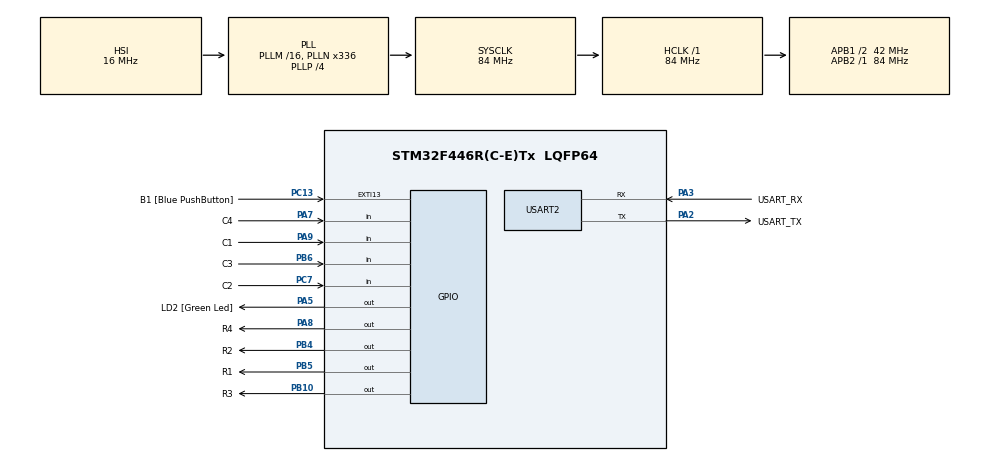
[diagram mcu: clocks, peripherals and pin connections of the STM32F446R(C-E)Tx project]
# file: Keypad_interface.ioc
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Mcu.Family=STM32F4
Mcu.Name=STM32F446R(C-E)Tx
Mcu.Package=LQFP64
NVIC.PriorityGroup=NVIC_PRIORITYGROUP_0
PA13.GPIO_Label=TMS
PA13.Mode=Serial_Wire
PA13.Signal=SYS_JTMS-SWDIO
PA14.GPIO_Label=TCK
PA14.Mode=Serial_Wire
PA14.Signal=SYS_JTCK-SWCLK
PA2.GPIO_Label=USART_TX
PA2.Mode=Asynchronous
PA2.Signal=USART2_TX
PA3.GPIO_Label=USART_RX
PA3.Mode=Asynchronous
PA3.Signal=USART2_RX
PA5.GPIO_Label=LD2 [Green Led]
PA5.Signal=GPIO_Output
PA7.GPIO_Label=C4
PA7.GPIO_PuPd=GPIO_PULLDOWN
PA7.Signal=GPIO_Input
PA8.GPIO_Label=R4
PA8.Signal=GPIO_Output
PA9.GPIO_Label=C1
PA9.GPIO_PuPd=GPIO_PULLDOWN
PA9.Signal=GPIO_Input
PB10.GPIO_Label=R3
PB10.Signal=GPIO_Output
PB3.GPIO_Label=SWO
PB3.Signal=SYS_JTDO-SWO
PB4.GPIO_Label=R2
PB4.Signal=GPIO_Output
PB5.GPIO_Label=R1
PB5.Signal=GPIO_Output
PB6.GPIO_Label=C3
PB6.GPIO_PuPd=GPIO_PULLDOWN
PB6.Signal=GPIO_Input
PC13.GPIO_Label=B1 [Blue PushButton]
PC13.GPIO_ModeDefaultEXTI=GPIO_MODE_IT_FALLING
PC13.Signal=GPXTI13
PC14-OSC32_IN.Mode=LSE-External-Oscillator
PC14-OSC32_IN.Signal=RCC_OSC32_IN
PC15-OSC32_OUT.Mode=LSE-External-Oscillator
PC15-OSC32_OUT.Signal=RCC_OSC32_OUT
PC7.GPIO_Label=C2
PC7.GPIO_PuPd=GPIO_PULLDOWN
PC7.Signal=GPIO_Input
PH0-OSC_IN.Mode=HSE-External-Oscillator
PH0-OSC_IN.Signal=RCC_OSC_IN
PH1-OSC_OUT.Mode=HSE-External-Oscillator
PH1-OSC_OUT.Signal=RCC_OSC_OUT
ProjectManager.HeapSize=0x200
ProjectManager.StackSize=0x400
ProjectManager.TargetToolchain=STM32CubeIDE
RCC.48MHZClocksFreq_Value=84000000
RCC.AHBFreq_Value=84000000
RCC.APB1CLKDivider=RCC_HCLK_DIV2
RCC.APB1Freq_Value=42000000
RCC.APB1TimFreq_Value=84000000
RCC.APB2Freq_Value=84000000
RCC.APB2TimFreq_Value=84000000
RCC.CortexFreq_Value=84000000
RCC.FLatency-AdvancedSettings=FLASH_LATENCY_2
RCC.HCLKFreq_Value=84000000
RCC.HSE_VALUE=8000000
RCC.HSI_VALUE=16000000
RCC.PLLN=336
RCC.PLLP=RCC_PLLP_DIV4
RCC.SYSCLKFreq_VALUE=84000000
RCC.SYSCLKSource=RCC_SYSCLKSOURCE_PLLCLK
RCC.USBFreq_Value=168000000
RCC.VCOOutputFreq_Value=336000000
USART2.VirtualMode=VM_ASYNC
board=NUCLEO-F446RE

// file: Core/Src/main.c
/* USER CODE BEGIN Header */
/**
 ******************************************************************************
 * @file           : main.c
 * @brief          : Main program body
 ******************************************************************************
 * @attention
 *
 * Copyright (c) 2025 STMicroelectronics.
 * All rights reserved.
 *
 * This software is licensed under terms that can be found in the LICENSE file
 * in the root directory of this software component.
 * If no LICENSE file comes with this software, it is provided AS-IS.
 *
 ******************************************************************************
 */
/* USER CODE END Header */
#include "main.h"

/* USER CODE BEGIN Includes */
#include <stdio.h>
#include <string.h>
#include <stdbool.h>
/* USER CODE END Includes */

/* USER CODE BEGIN PD */
#define ROWS 4
#define COLS 4
/* USER CODE END PD */

/* USER CODE BEGIN PM */
uint16_t rowPins[ROWS] = {R1_Pin, R2_Pin, R3_Pin, R4_Pin};
GPIO_TypeDef *rowPorts[ROWS] = {GPIOB, GPIOB, GPIOB, GPIOA};

uint16_t colPins[COLS] = {C1_Pin, C2_Pin, C3_Pin, C4_Pin};
GPIO_TypeDef *colPorts[COLS] = {GPIOA, GPIOC, GPIOB, GPIOA};

char keys[ROWS][COLS] = {
    {'1', '2', '3', 'A'},
    {'4', '5', '6', 'B'},
    {'7', '8', '9', 'C'},
    {'*', '0', '#', 'D'}};

bool flag = false;
/* USER CODE END PM */

UART_HandleTypeDef huart2;

void SystemClock_Config(void);
static void MX_GPIO_Init(void);
static void MX_USART2_UART_Init(void);

/* USER CODE BEGIN 0 */
char readKeypad(void)
{
  for (uint8_t r = 0; r < ROWS; r++) {
    HAL_GPIO_WritePin(rowPorts[r], rowPins[r], GPIO_PIN_RESET);
  }

  for (uint8_t row = 0; row < ROWS; row++) {
    HAL_GPIO_WritePin(rowPorts[row], rowPins[row], GPIO_PIN_SET);
    HAL_Delay(1);

    for (uint8_t col = 0; col < COLS; col++) {
      if (HAL_GPIO_ReadPin(colPorts[col], colPins[col]) == GPIO_PIN_SET) {
        HAL_GPIO_WritePin(rowPorts[row], rowPins[row], GPIO_PIN_RESET);
        flag = true;
        return keys[row][col];
      }
    }

    HAL_GPIO_WritePin(rowPorts[row], rowPins[row], GPIO_PIN_RESET);
  }
  return 0; // no key
}
/* USER CODE END 0 */

int main(void)
{

  /* MCU Configuration--------------------------------------------------------*/

  /* Reset of all peripherals, Initializes the Flash interface and the Systick. */
  HAL_Init();

  /* Configure the system clock */
  SystemClock_Config();

  /* Initialize all configured peripherals */
  MX_GPIO_Init();
  MX_USART2_UART_Init();
  /* USER CODE BEGIN 2 */
  char key = -1;
  char msg[50];
  /* USER CODE END 2 */

  /* Infinite loop */
  while (1)
  {
    key = readKeypad();
    if (flag)
    {
      sprintf(msg, "Key pressed = %c\r\n", key);
      HAL_UART_Transmit(&huart2, (uint8_t *)msg, strlen(msg), HAL_MAX_DELAY);
      flag = false;
    }
    HAL_Delay(150);
  }
}

void SystemClock_Config(void)
{
  RCC_OscInitTypeDef RCC_OscInitStruct = {0};
  RCC_ClkInitTypeDef RCC_ClkInitStruct = {0};

  /** Configure the main internal regulator output voltage
   */
  __HAL_RCC_PWR_CLK_ENABLE();
  __HAL_PWR_VOLTAGESCALING_CONFIG(PWR_REGULATOR_VOLTAGE_SCALE3);

  /** Initializes the RCC Oscillators according to the specified parameters
   * in the RCC_OscInitTypeDef structure.
   */
  RCC_OscInitStruct.OscillatorType = RCC_OSCILLATORTYPE_HSI;
  RCC_OscInitStruct.HSIState = RCC_HSI_ON;
  RCC_OscInitStruct.HSICalibrationValue = RCC_HSICALIBRATION_DEFAULT;
  RCC_OscInitStruct.PLL.PLLState = RCC_PLL_ON;
  RCC_OscInitStruct.PLL.PLLSource = RCC_PLLSOURCE_HSI;
  RCC_OscInitStruct.PLL.PLLM = 16;
  RCC_OscInitStruct.PLL.PLLN = 336;
  RCC_OscInitStruct.PLL.PLLP = RCC_PLLP_DIV4;
  RCC_OscInitStruct.PLL.PLLQ = 2;
  RCC_OscInitStruct.PLL.PLLR = 2;
  if (HAL_RCC_OscConfig(&RCC_OscInitStruct) != HAL_OK)
  {
    Error_Handler();
  }

  /** Initializes the CPU, AHB and APB buses clocks
   */
  RCC_ClkInitStruct.ClockType = RCC_CLOCKTYPE_HCLK | RCC_CLOCKTYPE_SYSCLK | RCC_CLOCKTYPE_PCLK1 | RCC_CLOCKTYPE_PCLK2;
  RCC_ClkInitStruct.SYSCLKSource = RCC_SYSCLKSOURCE_PLLCLK;
  RCC_ClkInitStruct.AHBCLKDivider = RCC_SYSCLK_DIV1;
  RCC_ClkInitStruct.APB1CLKDivider = RCC_HCLK_DIV2;
  RCC_ClkInitStruct.APB2CLKDivider = RCC_HCLK_DIV1;

  if (HAL_RCC_ClockConfig(&RCC_ClkInitStruct, FLASH_LATENCY_2) != HAL_OK)
  {
    Error_Handler();
  }
}

static void MX_USART2_UART_Init(void)
{

  huart2.Instance = USART2;
  huart2.Init.BaudRate = 115200;
  huart2.Init.WordLength = UART_WORDLENGTH_8B;
  huart2.Init.StopBits = UART_STOPBITS_1;
  huart2.Init.Parity = UART_PARITY_NONE;
  huart2.Init.Mode = UART_MODE_TX_RX;
  huart2.Init.HwFlowCtl = UART_HWCONTROL_NONE;
  huart2.Init.OverSampling = UART_OVERSAMPLING_16;
  if (HAL_UART_Init(&huart2) != HAL_OK)
  {
    Error_Handler();
  }
}

static void MX_GPIO_Init(void)
{
  GPIO_InitTypeDef GPIO_InitStruct = {0};

  /* GPIO Ports Clock Enable */
  __HAL_RCC_GPIOC_CLK_ENABLE();
  __HAL_RCC_GPIOH_CLK_ENABLE();
  __HAL_RCC_GPIOA_CLK_ENABLE();
  __HAL_RCC_GPIOB_CLK_ENABLE();

  /*Configure GPIO pin Output Level */
  HAL_GPIO_WritePin(GPIOA, LD2_Pin | R4_Pin, GPIO_PIN_RESET);

  /*Configure GPIO pin Output Level */
  HAL_GPIO_WritePin(GPIOB, R3_Pin | R2_Pin | R1_Pin, GPIO_PIN_RESET);

  /*Configure GPIO pin : B1_Pin */
  GPIO_InitStruct.Pin = B1_Pin;
  GPIO_InitStruct.Mode = GPIO_MODE_IT_FALLING;
  GPIO_InitStruct.Pull = GPIO_NOPULL;
  HAL_GPIO_Init(B1_GPIO_Port, &GPIO_InitStruct);

  /*Configure GPIO pins : LD2_Pin R4_Pin */
  GPIO_InitStruct.Pin = LD2_Pin | R4_Pin;
  GPIO_InitStruct.Mode = GPIO_MODE_OUTPUT_PP;
  GPIO_InitStruct.Pull = GPIO_NOPULL;
  GPIO_InitStruct.Speed = GPIO_SPEED_FREQ_LOW;
  HAL_GPIO_Init(GPIOA, &GPIO_InitStruct);

  /*Configure GPIO pins : C4_Pin C1_Pin */
  GPIO_InitStruct.Pin = C4_Pin | C1_Pin;
  GPIO_InitStruct.Mode = GPIO_MODE_INPUT;
  GPIO_InitStruct.Pull = GPIO_PULLDOWN;
  HAL_GPIO_Init(GPIOA, &GPIO_InitStruct);

  /*Configure GPIO pins : R3_Pin R2_Pin R1_Pin */
  GPIO_InitStruct.Pin = R3_Pin | R2_Pin | R1_Pin;
  GPIO_InitStruct.Mode = GPIO_MODE_OUTPUT_PP;
  GPIO_InitStruct.Pull = GPIO_NOPULL;
  GPIO_InitStruct.Speed = GPIO_SPEED_FREQ_LOW;
  HAL_GPIO_Init(GPIOB, &GPIO_InitStruct);

  /*Configure GPIO pin : C2_Pin */
  GPIO_InitStruct.Pin = C2_Pin;
  GPIO_InitStruct.Mode = GPIO_MODE_INPUT;
  GPIO_InitStruct.Pull = GPIO_PULLDOWN;
  HAL_GPIO_Init(C2_GPIO_Port, &GPIO_InitStruct);

  /*Configure GPIO pin : C3_Pin */
  GPIO_InitStruct.Pin = C3_Pin;
  GPIO_InitStruct.Mode = GPIO_MODE_INPUT;
  GPIO_InitStruct.Pull = GPIO_PULLDOWN;
  HAL_GPIO_Init(C3_GPIO_Port, &GPIO_InitStruct);

}

void Error_Handler(void)
{
  __disable_irq();
  while (1)
  {
  }
}
